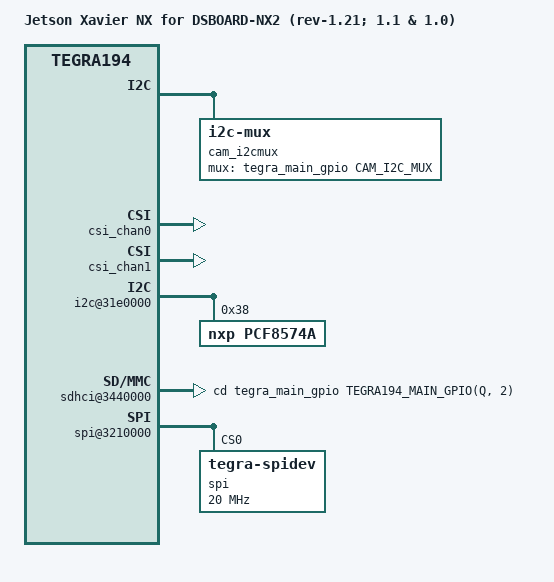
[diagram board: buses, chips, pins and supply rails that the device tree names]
/*
 * Top level DTS file for CVM:P3668-0001 and CVB:DSBOARD-NX2.
 *
 * Copyright (c) 2020-2021, Mist Elektronik Biyomedikal Ltd. Şti.  All rights reserved.
 *
 * This program is free software; you can redistribute it and/or modify
 * it under the terms of the GNU General Public License as published by
 * the Free Software Foundation; version 2 of the License.
 *
 * This program is distributed in the hope that it will be useful, but WITHOUT
 * ANY WARRANTY; without even the implied warranty of MERCHANTABILITY or
 * FITNESS FOR A PARTICULAR PURPOSE.  See the GNU General Public License for
 * more details.
 */

/dts-v1/;
#include "common/tegra194-p3668-common.dtsi"
#include "common/tegra194-p3509-0000-a00.dtsi"
#include "common/tegra194-camera-jakku-ar0234.dtsi"

#undef CAM_I2C_MUX
#define CAM_I2C_MUX TEGRA194_MAIN_GPIO(Q, 6)

/ {
	nvidia,dtsfilename = __FILE__;
	nvidia,dtbbuildtime = __DATE__, __TIME__;
	model = "Jetson Xavier NX for DSBOARD-NX2 (rev-1.21; 1.1 & 1.0)";

	compatible = "nvidia,p3449-0000+p3668-0000", "nvidia,p3449-0000+p3668-0001", "nvidia,p3509-0000+p3668-0000", "nvidia,p3509-0000+p3668-0001", "nvidia,tegra194";


	cam_i2cmux {
		i2c@0 {
			rbpcv2_imx219_a@10 {
				status = "disabled";
			};
		};
		i2c@1 {
			rbpcv2_imx219_c@10 {
				status = "disabled";
			};
		};
	};

	capture_vi_base: tegra-capture-vi {
		status = "okay";
		ports {
			ecam_ar0234_vi_port0: port@0 {
				status = "okay";
				ecam_ar0234_vi_in0: endpoint {
					status = "okay";
				};
			};
			ecam_ar0234_vi_port1: port@1 {
				status = "okay";
				ecam_ar0234_vi_in1: endpoint {
					status = "okay";
				};
			};
		};
	};

	host1x@13e00000 {
		csi_base: nvcsi@15a00000 {
			csi_chan0: channel@0 {
				status = "okay";
				ports {
					csi_chan0_port0: port@0 {
						status = "okay";
						ecam_ar0234_csi_in0: endpoint@0 {
							status = "okay";
						};
					};
					csi_chan0_port1: port@1 {
						status = "okay";
						ecam_ar0234_csi_out0: endpoint@1 {
							status = "okay";
						};
					};
				};
			};
			csi_chan1: channel@1 {
				status = "okay";
				ports {
					csi_chan1_port0: port@0 {
						status = "okay";
						ecam_ar0234_csi_in1: endpoint@2 {
							status = "okay";
						};
					};
					csi_chan1_port1: port@1 {
						status = "okay";
						ecam_ar0234_csi_out1: endpoint@3 {
							status = "okay";
						};
					};
				};
			};


		};
	};



	i2c@31e0000 {
		pcf8574a: gpio@38 {
			status = "okay";
			compatible = "nxp,pcf8574a";
			reg = <0x38>;
			//interrupt-parent = <&irqpin2>;
			//interrupts = <3 0>;
			gpio-controller;
			#gpio-cells = <2>;
			//interrupt-controller;
			//#interrupt-cells = <2>;
		};
	};

	pcie@141a0000{
		nvidia,max-speed = <2>;
	};

	cam_i2cmux{
		mux-gpios = <&tegra_main_gpio CAM_I2C_MUX GPIO_ACTIVE_HIGH>;
	};

	sdhci@3440000 {
		status = "okay";
		cd-gpios = <&tegra_main_gpio TEGRA194_MAIN_GPIO(Q, 2) 0>;
		nvidia,vmmc-always-on;
		disable-wp;
	};

	sdhci@3400000 {
		status = "disabled";
	};

	pwm-fan {
		status = "disabled";
	};

	clocks-init {
		disable {
			/delete-property/ clocks;
		};
	};

#if TEGRA_PCIE_VERSION < DT_VERSION_2
	gpio@c2f0000 {
		w-disable1 {
			gpio-hog;
			output-high;
			gpios = <TEGRA194_AON_GPIO(CC, 2) GPIO_ACTIVE_LOW>;
			label = "w-disable1";
			status = "disabled";
		};
	};
#endif

	spi@3210000{
		status = "okay";

		spi@0 {
			status = "okay";
			compatible = "tegra-spidev";
			reg = <0x0>;
			spi-max-frequency = <20000000>;

			controller-data {
				nvidia,enable-hw-based-cs;
				nvidia,rx-clk-tap-delay = <0x10>;
				nvidia,tx-clk-tap-delay = <0x0>;
			};
		};
	};

};

